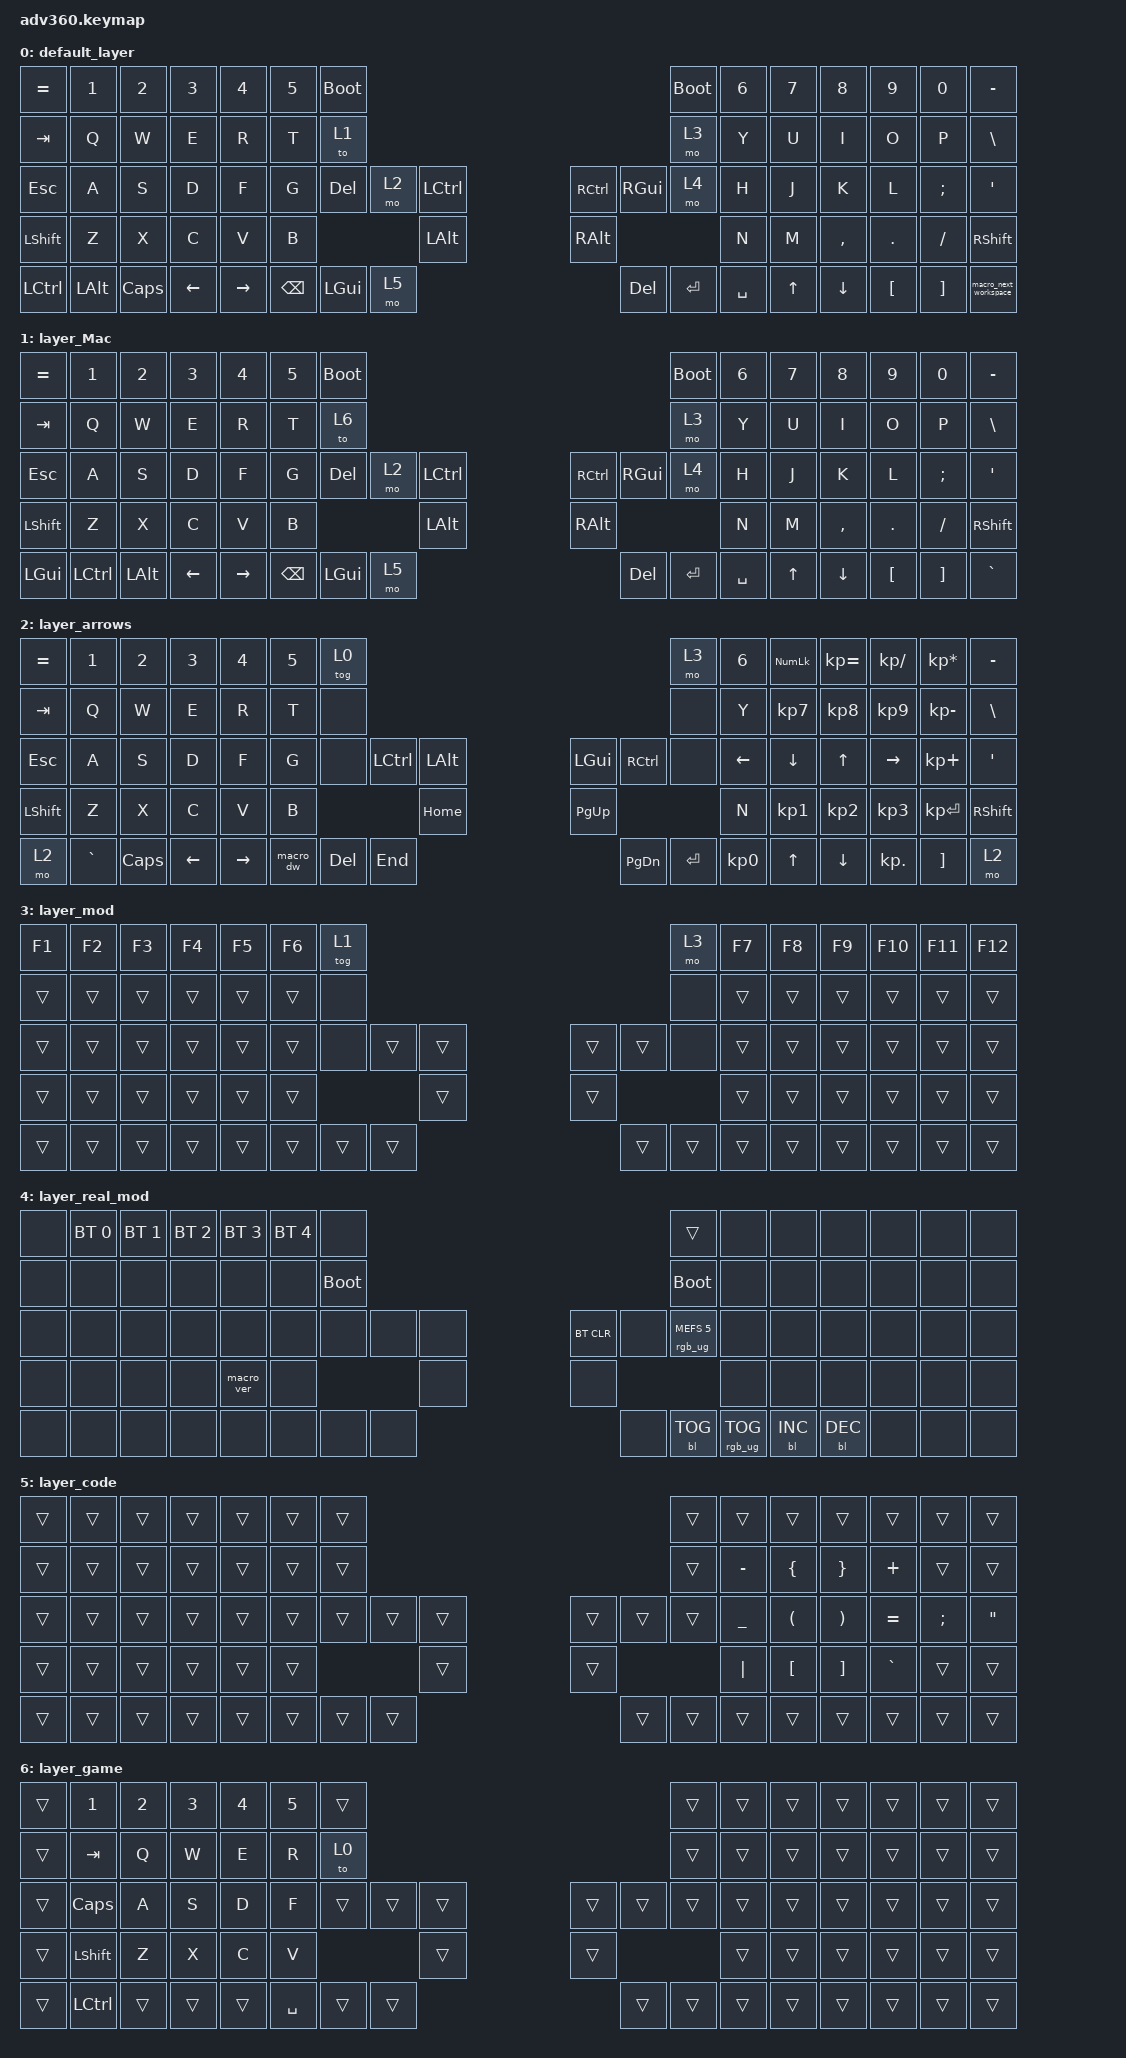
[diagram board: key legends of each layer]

/*
 * Copyright (c) 2020 The ZMK Contributors
 *
 * SPDX-License-Identifier: MIT
 */


/* THIS FILE WAS GENERATED!
 *
 * This file was generated automatically. You may or may not want to
 * edit it directly.
 */

#include <behaviors.dtsi>
#include <dt-bindings/zmk/keys.h>
#include <dt-bindings/zmk/bt.h>
#include <dt-bindings/zmk/rgb.h>
#include <dt-bindings/zmk/backlight.h>

/ {
  behaviors {
    #include "macros.dtsi"
    #include "version.dtsi"

    hm: homerow_mods {
        compatible = "zmk,behavior-hold-tap";
        label = "HOMEROW_MODS";
        #binding-cells = <2>;
        tapping-term-ms = <200>;
        quick_tap_ms = <175>;
        flavor = "tap-preferred";
        bindings = <&kp>, <&kp>;
    };
  };

    keymap {
        compatible = "zmk,keymap";


        default_layer {
            bindings = <
 &kp EQUAL        &kp N1    &kp N2    &kp N3     &kp N4  &kp N5            &bootloader                                                                 &bootloader  &kp N6  &kp N7     &kp N8    &kp N9    &kp N0              &kp MINUS
   &kp TAB         &kp Q     &kp W     &kp E      &kp R   &kp T                  &to 1                                                                       &mo 3   &kp Y   &kp U      &kp I     &kp O     &kp P               &kp BSLH
   &kp ESC         &kp A     &kp S     &kp D      &kp F   &kp G             &kp DELETE     &mo 2     &kp LCTRL                   &kp RCTRL   &kp RGUI        &mo 4   &kp H   &kp J      &kp K     &kp L  &kp SEMI                &kp SQT
 &kp LSHFT         &kp Z     &kp X     &kp C      &kp V   &kp B                                   &kp LEFT_ALT                    &kp RALT                           &kp N   &kp M  &kp COMMA   &kp DOT  &kp FSLH              &kp RSHFT
 &kp LCTRL  &kp LEFT_ALT  &kp CAPS  &kp LEFT  &kp RIGHT                       &kp BSPC  &kp LGUI         &mo 5                  &kp DELETE  &kp ENTER    &kp SPACE          &kp UP   &kp DOWN  &kp LBKT  &kp RBKT  &macro_next_workspace
            >;
        };

        layer_Mac {
            bindings = <
      &kp EQUAL  &kp NUMBER_1  &kp NUMBER_2  &kp NUMBER_3  &kp NUMBER_4  &kp NUMBER_5              &bootloader                                                                    &bootloader  &kp NUMBER_6  &kp NUMBER_7  &kp NUMBER_8      &kp NUMBER_9       &kp NUMBER_0         &kp MINUS
        &kp TAB         &kp Q         &kp W         &kp E         &kp R         &kp T                    &to 6                                                                          &mo 3         &kp Y         &kp U         &kp I             &kp O              &kp P     &kp BACKSLASH
        &kp ESC         &kp A         &kp S         &kp D         &kp F         &kp G               &kp DELETE     &mo 2     &kp LCTRL                      &kp RCTRL   &kp RGUI        &mo 4         &kp H         &kp J         &kp K             &kp L      &kp SEMICOLON  &kp SINGLE_QUOTE
 &kp LEFT_SHIFT         &kp Z         &kp X         &kp C         &kp V         &kp B                                     &kp LEFT_ALT                  &kp RIGHT_ALT                                 &kp N         &kp M     &kp COMMA        &kp PERIOD          &kp SLASH   &kp RIGHT_SHIFT
       &kp LGUI     &kp LCTRL  &kp LEFT_ALT      &kp LEFT     &kp RIGHT                          &kp BACKSPACE  &kp LGUI         &mo 5                     &kp DELETE  &kp ENTER    &kp SPACE                      &kp UP      &kp DOWN  &kp LEFT_BRACKET  &kp RIGHT_BRACKET         &kp GRAVE
            >;
        };

        layer_arrows {
            bindings = <
 &kp EQUAL     &kp N1    &kp N2    &kp N3     &kp N4  &kp N5               &tog 0                                                                 &mo 3    &kp N6  &kp KP_NUM  &kp KP_EQUAL  &kp KP_DIVIDE  &kp KP_MULTIPLY  &kp MINUS
   &kp TAB      &kp Q     &kp W     &kp E      &kp R   &kp T                &none                                                                 &none     &kp Y   &kp KP_N7     &kp KP_N8      &kp KP_N9     &kp KP_MINUS   &kp BSLH
   &kp ESC      &kp A     &kp S     &kp D      &kp F   &kp G                &none  &kp LCTRL  &kp LALT                   &kp LGUI  &kp RCTRL      &none  &kp LEFT    &kp DOWN        &kp UP      &kp RIGHT      &kp KP_PLUS    &kp SQT
 &kp LSHFT      &kp Z     &kp X     &kp C      &kp V   &kp B                                  &kp HOME                  &kp PG_UP                           &kp N   &kp KP_N1     &kp KP_N2      &kp KP_N3     &kp KP_ENTER  &kp RSHFT
     &mo 2  &kp GRAVE  &kp CAPS  &kp LEFT  &kp RIGHT                    &macro_dw    &kp DEL   &kp END                  &kp PG_DN  &kp ENTER  &kp KP_N0                &kp UP      &kp DOWN     &kp KP_DOT         &kp RBKT      &mo 2
            >;
        };

        layer_mod {
            bindings = <
 &kp F1  &kp F2  &kp F3  &kp F4  &kp F5  &kp F6            &tog 1                                                   &mo 3  &kp F7  &kp F8  &kp F9  &kp F10  &kp F11  &kp F12
 &trans  &trans  &trans  &trans  &trans  &trans             &none                                                   &none  &trans  &trans  &trans   &trans   &trans   &trans
 &trans  &trans  &trans  &trans  &trans  &trans             &none  &trans  &trans                  &trans  &trans   &none  &trans  &trans  &trans   &trans   &trans   &trans
 &trans  &trans  &trans  &trans  &trans  &trans                            &trans                  &trans                  &trans  &trans  &trans   &trans   &trans   &trans
 &trans  &trans  &trans  &trans  &trans                    &trans  &trans  &trans                  &trans  &trans  &trans          &trans  &trans   &trans   &trans   &trans
            >;
        };

        layer_real_mod {
            bindings = <
  &none  &bt BT_SEL 0  &bt BT_SEL 1  &bt BT_SEL 2  &bt BT_SEL 3  &bt BT_SEL 4                  &none                                                                          &trans   &none       &none       &none   &none   &none   &none
  &none         &none         &none         &none         &none         &none            &bootloader                                                                     &bootloader   &none       &none       &none   &none   &none   &none
  &none         &none         &none         &none         &none         &none                  &none   &none   &none                  &bt BT_CLR       &none  &rgb_ug RGB_MEFS_CMD 5   &none       &none       &none   &none   &none   &none
  &none         &none         &none         &none    &macro_ver         &none                                  &none                       &none                                       &none       &none       &none   &none   &none   &none
  &none         &none         &none         &none         &none                                &none   &none   &none                       &none  &bl BL_TOG         &rgb_ug RGB_TOG          &bl BL_INC  &bl BL_DEC   &none   &none   &none
            >;
        };

        layer_code {
            bindings = <
 &trans  &trans  &trans  &trans  &trans  &trans            &trans                                                  &trans          &trans                &trans                 &trans     &trans         &trans             &trans
 &trans  &trans  &trans  &trans  &trans  &trans            &trans                                                  &trans       &kp MINUS        &kp LEFT_BRACE        &kp RIGHT_BRACE   &kp PLUS         &trans             &trans
 &trans  &trans  &trans  &trans  &trans  &trans            &trans  &trans  &trans                  &trans  &trans  &trans  &kp UNDERSCORE  &kp LEFT_PARENTHESIS  &kp RIGHT_PARENTHESIS  &kp EQUAL  &kp SEMICOLON  &kp DOUBLE_QUOTES
 &trans  &trans  &trans  &trans  &trans  &trans                            &trans                  &trans                        &kp PIPE      &kp LEFT_BRACKET      &kp RIGHT_BRACKET  &kp GRAVE         &trans             &trans
 &trans  &trans  &trans  &trans  &trans                    &trans  &trans  &trans                  &trans  &trans  &trans                                &trans                 &trans     &trans         &trans             &trans
            >;
        };

        layer_game {
            bindings = <
 &trans  &kp NUMBER_1  &kp NUMBER_2  &kp NUMBER_3  &kp NUMBER_4  &kp NUMBER_5               &trans                                                  &trans  &trans  &trans  &trans  &trans  &trans  &trans
 &trans       &kp TAB         &kp Q         &kp W         &kp E         &kp R                &to 0                                                  &trans  &trans  &trans  &trans  &trans  &trans  &trans
 &trans  &kp CAPSLOCK         &kp A         &kp S         &kp D         &kp F               &trans  &trans  &trans                  &trans  &trans  &trans  &trans  &trans  &trans  &trans  &trans  &trans
 &trans    &kp LSHIFT         &kp Z         &kp X         &kp C         &kp V                               &trans                  &trans                  &trans  &trans  &trans  &trans  &trans  &trans
 &trans     &kp LCTRL        &trans        &trans        &trans                          &kp SPACE  &trans  &trans                  &trans  &trans  &trans          &trans  &trans  &trans  &trans  &trans
            >;
        };

    };
};
